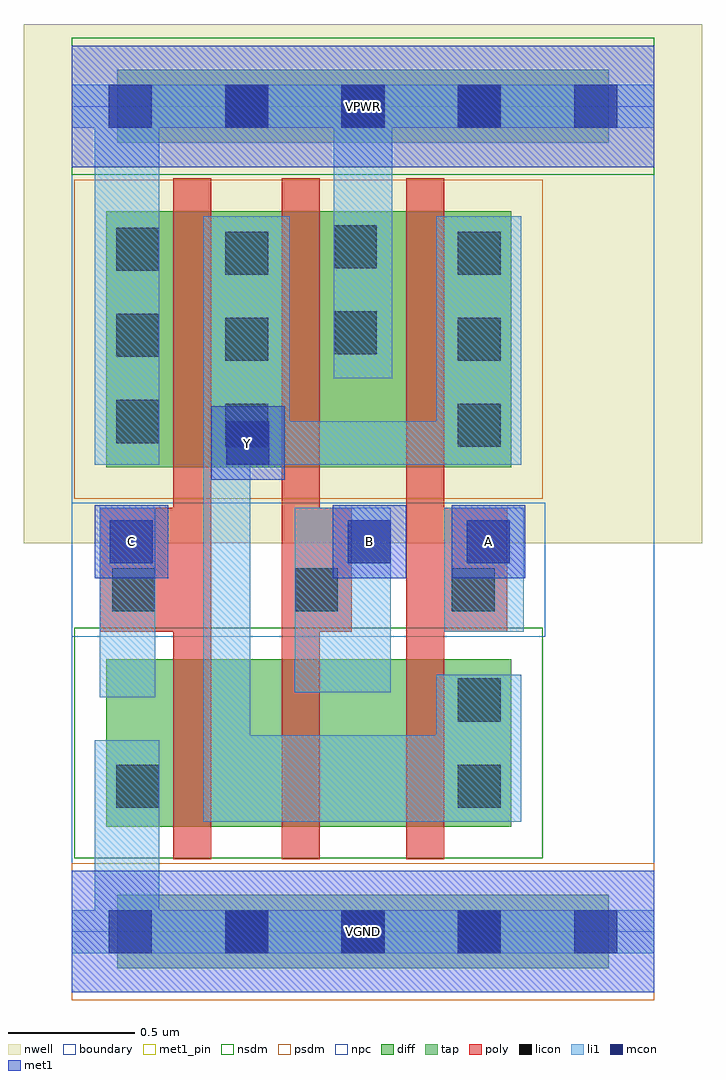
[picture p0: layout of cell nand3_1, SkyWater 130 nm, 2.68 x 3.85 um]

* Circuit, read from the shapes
.subckt nand3_1 A B C VGND VPWR Y
XM1 n1 C VGND VGND sky130_fd_pr__nfet_01v8 w=0.66 l=0.15
XM2 n2 B n1 VGND sky130_fd_pr__nfet_01v8 w=0.66 l=0.15
XM3 Y A n2 VGND sky130_fd_pr__nfet_01v8 w=0.66 l=0.15
XM4 Y C VPWR VPWR sky130_fd_pr__pfet_01v8 w=1.01 l=0.15
XM5 VPWR B Y VPWR sky130_fd_pr__pfet_01v8 w=1.01 l=0.15
XM6 Y A VPWR VPWR sky130_fd_pr__pfet_01v8 w=1.01 l=0.15
.ends

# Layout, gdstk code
import gdstk
lib = gdstk.Library(unit=1e-6, precision=1e-09)
def R(c, l, rs):  # rectangles x0, y0, x1, y1
    for r in rs: c.add(gdstk.rectangle(r[:2], r[2:], *l))
def A(c, l, x, y, w, h, nx, ny, dx, dy):  # array of equal rectangles
    R(c, l, [(x+i*dx, y+j*dy, x+i*dx+w, y+j*dy+h) for i in range(nx) for j in range(ny)])
nwell = (64, 20)
diff = (65, 20)
tap = (65, 44)
poly = (66, 20)
licon = (66, 44)
li1 = (67, 20)
mcon = (67, 44)
met1_pin = (68, 16)
met1 = (68, 20)
nsdm = (93, 44)
psdm = (94, 20)
npc = (95, 20)
boundary = (235, 4)

nand3_1 = lib.new_cell('nand3_1')
R(nand3_1, nwell, [(-0.19,1.535,2.49,3.585), (0,1.535,2.3,3.585)])
R(nand3_1, diff, [(0.135,0.415,1.735,1.075), (0.135,1.835,1.735,2.845)])
R(nand3_1, tap, [(0.18,-0.145,2.12,0.145), (0.18,3.115,2.12,3.405)])
R(nand3_1, poly, [(0.4,0.285,0.55,2.975), (0.83,0.285,0.98,2.975), (1.32,0.285,1.47,2.975), (0.11,1.185,0.55,1.675), (0.83,1.185,1.105,1.675), (1.32,1.185,1.72,1.675)])
A(nand3_1, licon, 0.605, -0.085, 0.17, 0.17, 3, 2, 0.46, 3.26)
A(nand3_1, licon, 0.605, 1.915, 0.17, 0.17, 1, 3, 0, 0.34)
A(nand3_1, licon, 1.525, 1.915, 0.17, 0.17, 1, 3, 0, 0.34)
A(nand3_1, licon, 0.175, 1.93, 0.17, 0.17, 1, 3, 0, 0.34)
R(nand3_1, licon, [(0.175,0.49,0.345,0.66), (1.525,0.49,1.695,0.66), (1.525,0.83,1.695,1), (0.16,1.265,0.33,1.435), (0.88,1.265,1.05,1.435), (1.5,1.265,1.67,1.435), (1.035,2.28,1.205,2.45), (1.035,2.62,1.205,2.79)])
R(nand3_1, li1, [(0,-0.085,2.3,0.085), (0.09,-0.085,0.345,0.755), (0.52,0.435,1.775,0.775), (0.52,0.435,0.705,2.825), (1.44,0.435,1.775,1.015), (0.11,0.925,0.33,1.675), (0.88,0.945,1.26,1.675), (1.47,1.185,1.785,1.675), (0.09,1.845,0.345,3.345), (0.52,1.845,0.86,2.825), (0.52,1.845,1.775,2.015), (1.44,1.845,1.775,2.825), (1.035,2.185,1.265,3.345), (0,3.175,2.3,3.345)])
A(nand3_1, mcon, 0.145, -0.085, 0.17, 0.17, 5, 2, 0.46, 3.26)
R(nand3_1, mcon, [(0.15,1.455,0.32,1.625), (1.09,1.455,1.26,1.625), (1.56,1.455,1.73,1.625), (0.61,1.845,0.78,2.015)])
R(nand3_1, met1_pin, [(0,-0.24,2.3,0.24), (0.09,1.395,0.38,1.685), (1.03,1.395,1.32,1.685), (1.5,1.395,1.79,1.685), (0.55,1.785,0.84,2.075), (0,3.02,2.3,3.5)])
R(nand3_1, met1, [(0,-0.24,2.3,0.24), (0.09,1.395,0.38,1.685), (1.03,1.395,1.32,1.685), (1.5,1.395,1.79,1.685), (0.55,1.785,0.84,2.075), (0,3.02,2.3,3.5)])
R(nand3_1, nsdm, [(0.01,0.29,1.86,1.2), (0,2.99,2.3,3.53)])
R(nand3_1, psdm, [(0,-0.27,2.3,0.27), (0.01,1.71,1.86,2.97)])
R(nand3_1, npc, [(0,1.165,1.87,1.695)])
R(nand3_1, boundary, [(0,0,2.3,3.26)])
nand3_1.add(gdstk.Label('A', (1.645,1.54), layer=68, texttype=5))
nand3_1.add(gdstk.Label('B', (1.175,1.54), layer=68, texttype=5))
nand3_1.add(gdstk.Label('C', (0.235,1.54), layer=68, texttype=5))
nand3_1.add(gdstk.Label('Y', (0.695,1.93), layer=68, texttype=5))
nand3_1.add(gdstk.Label('VPWR', (1.15,3.26), layer=68, texttype=5))
nand3_1.add(gdstk.Label('VGND', (1.15,0), layer=68, texttype=5))
nand3_1.add(gdstk.Label('A', (1.645,1.54), layer=68, texttype=16))
nand3_1.add(gdstk.Label('B', (1.175,1.54), layer=68, texttype=16))
nand3_1.add(gdstk.Label('C', (0.235,1.54), layer=68, texttype=16))
nand3_1.add(gdstk.Label('Y', (0.695,1.93), layer=68, texttype=16))
nand3_1.add(gdstk.Label('VPWR', (1.15,3.26), layer=68, texttype=16))
nand3_1.add(gdstk.Label('VGND', (1.15,0), layer=68, texttype=16))

lib.write_gds('nand3_1.gds')
